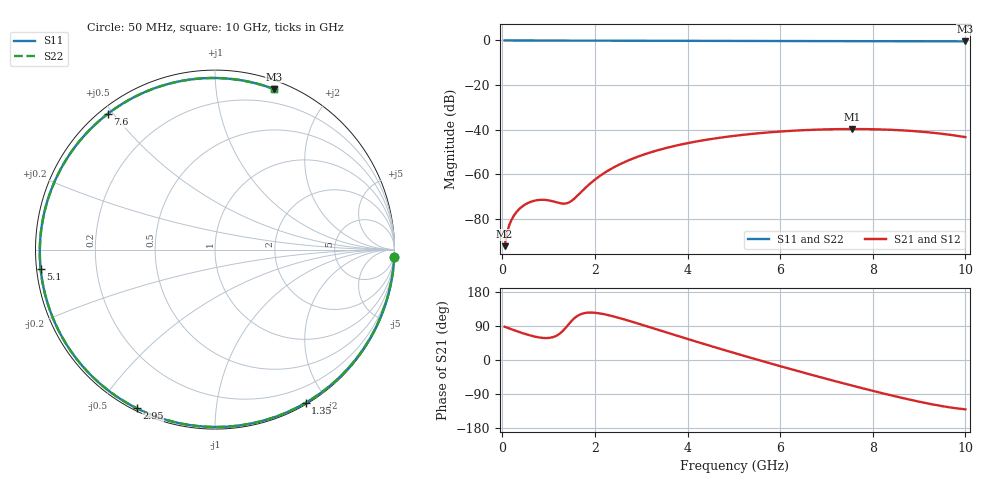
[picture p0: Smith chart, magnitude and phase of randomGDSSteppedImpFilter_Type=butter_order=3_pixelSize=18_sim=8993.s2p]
! freq	dB(S11)	phase(S11)	dB(S12)	phase(S12)
!  dB(S21)	phase(S21)	dB(S22)	phase(S22)
!S-par simulation data
#  GHz  S  DB  R 50
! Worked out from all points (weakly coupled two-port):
!   200 points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, 50 MHz to 10 GHz, reference 50 ohm
!   highest |S21| = -39.74 dB at 7.55 GHz (marker M1); lowest = -92.3 dB at 50 MHz (marker M2)
!   lowest |S11| = -0.4 dB at 10 GHz (marker M3), VSWR 41.46, Z = 3.68 + j71.5 ohm
!   |S11| at or under -10 dB: nowhere
!   |S22| runs from -0.4 to 0.0 dB; largest |S21 - S12| = 0
!   S11 on the Smith chart (normalised r, x): 50 MHz: 0, -49; 1.35 GHz: 0.02, -1.75; 2.95 GHz: 0.01, -0.62; 5.1 GHz: 0.01, -0.06; 7.6 GHz: 0.02, +0.48; 10 GHz: 0.07, +1.43
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0.05  -0.00 -2.3  -92.31 87.7  -92.31 87.7  -0.00 -2.3
0.2  -0.01 -9.2  -80.45 81.0  -80.45 81.0  -0.01 -9.2
0.4  -0.03 -18.3  -75.01 72.4  -75.01 72.4  -0.03 -18.3
0.7  -0.04 -31.7  -71.87 61.8  -71.87 61.8  -0.04 -31.7
0.95  -0.05 -42.6  -71.60 57.9  -71.60 57.9  -0.05 -42.6
1.35  -0.07 -59.4  -73.22 82.5  -73.22 82.5  -0.07 -59.4
1.5  -0.08 -65.4  -71.91 103.7  -71.91 103.7  -0.08 -65.4
1.75  -0.09 -75.1  -67.03 123.0  -67.03 123.0  -0.09 -75.1
2  -0.10 -84.4  -62.45 124.7  -62.45 124.7  -0.10 -84.4
2.3  -0.11 -95.1  -58.21 118.1  -58.21 118.1  -0.11 -95.1
2.95  -0.12 -116.2  -51.97 95.5  -51.97 95.5  -0.12 -116.2
3.4  -0.14 -129.6  -49.02 78.3  -49.02 78.3  -0.14 -129.6
4.2  -0.16 -151.4  -45.30 48.0  -45.30 48.0  -0.16 -151.4
5.05  -0.20 -172.5  -42.70 17.0  -42.70 17.0  -0.20 -172.5
5.1  -0.20 -173.7  -42.58 15.2  -42.58 15.2  -0.20 -173.7
5.9  -0.24 167.6  -41.01 -12.8  -41.01 -12.8  -0.23 167.6
6.7  -0.27 149.2  -40.08 -39.8  -40.08 -39.8  -0.27 149.2
7.55  -0.32 129.6  -39.74 -67.4  -39.74 -67.4  -0.32 129.6
7.6  -0.32 128.4  -39.74 -69.0  -39.74 -69.0  -0.32 128.4
8.35  -0.35 110.7  -40.05 -91.9  -40.05 -91.9  -0.35 110.7
9.2  -0.39 90.0  -41.22 -115.0  -41.22 -115.0  -0.39 90.0
10  -0.42 69.8  -43.38 -130.1  -43.38 -130.1  -0.42 69.9
